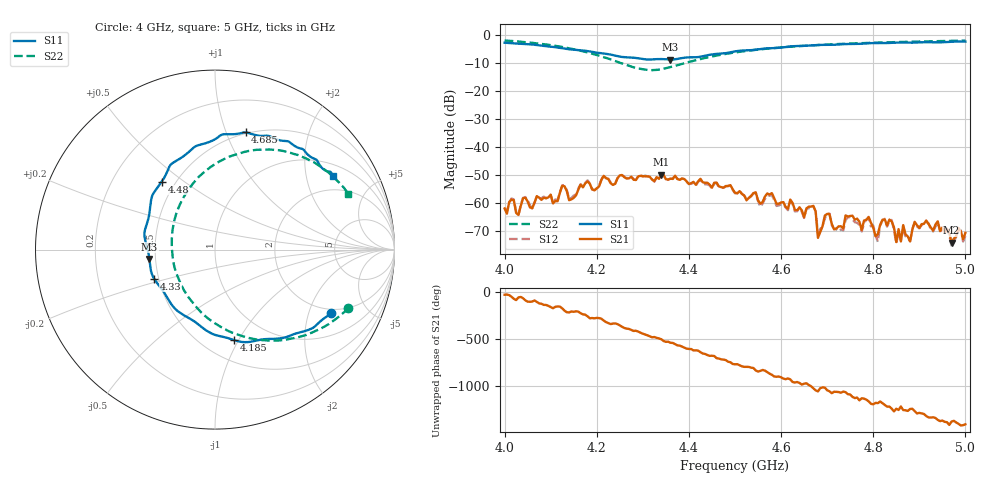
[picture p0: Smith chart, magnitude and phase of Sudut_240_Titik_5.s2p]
# Hz S RI R 50
! CMT, C1220, 16058040, 17.2.0/1
! Date: 15/08/2018 12:22:33
! Data: Format (Calibration Info)
! Freq  S11: Re/Im (F2)  S21: Re/Im (F2)  S12: Re/Im (F2)  S22: Re/Im (F2)
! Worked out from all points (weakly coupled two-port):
!   201 points, 4 GHz to 5 GHz, reference 50 ohm
!   highest |S21| = -49.79 dB at 4.34 GHz (marker M1); lowest = -74.1 dB at 4.97 GHz (marker M2)
!   lowest |S11| = -8.7 dB at 4.36 GHz (marker M3), VSWR 2.17, Z = 23.1 - j2.84 ohm
!   |S11| at or under -10 dB: nowhere
!   |S22| runs from -12.4 to -1.8 dB; largest |S21 - S12| = 0.00018
!   S11 on the Smith chart (normalised r, x): 4 GHz: 1.82, -2.84; 4.185 GHz: 0.70, -0.96; 4.33 GHz: 0.47, -0.18; 4.48 GHz: 0.42, +0.41; 4.685 GHz: 0.49, +1.17; 5 GHz: 1.41, +2.87
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4e9  0.6485 -0.3544  0.000731 -0.000332  0.000742 -0.000328  0.7427 -0.3251
4.17e9  0.1518 -0.5148  -0.00113 0.00155  -0.00122 0.00158  0.1753 -0.4888
4.185e9  0.1058 -0.5044  0.000214 0.00221  0.000205 0.00225  0.1148 -0.4689
4.33e9  -0.3392 -0.162  -0.00164 -0.00242  -0.00164 -0.00241  -0.2406 0.0214
4.335e9  -0.3473 -0.1469  -0.00176 -0.00208  -0.00182 -0.00207  -0.2405 0.0421
4.34e9  -0.3533 -0.1314  -0.00247 -0.0021  -0.00253 -0.00211  -0.2404 0.0627
4.36e9  -0.3652 -0.0529  -0.00274 -0.000139  -0.00274 -0.000135  -0.2307 0.1415
4.48e9  -0.2968 0.3785  0.00202 -7.05e-05  0.00197 -8.51e-05  -0.0158 0.4659
4.5e9  -0.2612 0.4456  0.00105 -0.00111  0.00108 -0.00105  0.0302 0.4941
4.65e9  0.0894 0.6428  -0.000154 0.000536  -0.000164 0.000519  0.3408 0.5554
4.67e9  0.1438 0.6487  0.000489 0.000749  0.000458 0.00075  0.3741 0.5504
4.68e9  0.1623 0.6525  0.000219 9.75e-05  0.000258 0.00014  0.3919 0.5465
4.685e9  0.1707 0.6531  0.00016 0.000261  0.000178 0.000297  0.4002 0.5445
4.7e9  0.1996 0.6452  0.000523 0.000374  0.000531 0.000374  0.4245 0.5378
4.725e9  0.2661 0.6333  0.000369 0.000113  0.000301 6.82e-05  0.4621 0.5269
4.79e9  0.3941 0.6053  7.56e-05 -0.000563  0.000117 -0.000524  0.5489 0.4875
4.81e9  0.4167 0.5975  -5.59e-05 -0.000272  7.36e-06 -0.000203  0.5706 0.4734
4.835e9  0.4595 0.5689  -0.000377 -0.000341  -0.000338 -0.000338  0.5996 0.4536
4.85e9  0.4834 0.5619  -0.000191 -6.53e-05  -0.000179 -6.57e-05  0.6165 0.4412
4.915e9  0.5653 0.5009  -0.000252 0.000419  -0.000282 0.000367  0.6761 0.3878
4.97e9  0.638 0.4345  9.19e-05 0.000175  8.82e-05 0.000146  0.7207 0.3411
5e9  0.6564 0.4093  0.00025 0.000159  0.000196 0.000172  0.7432 0.3121
